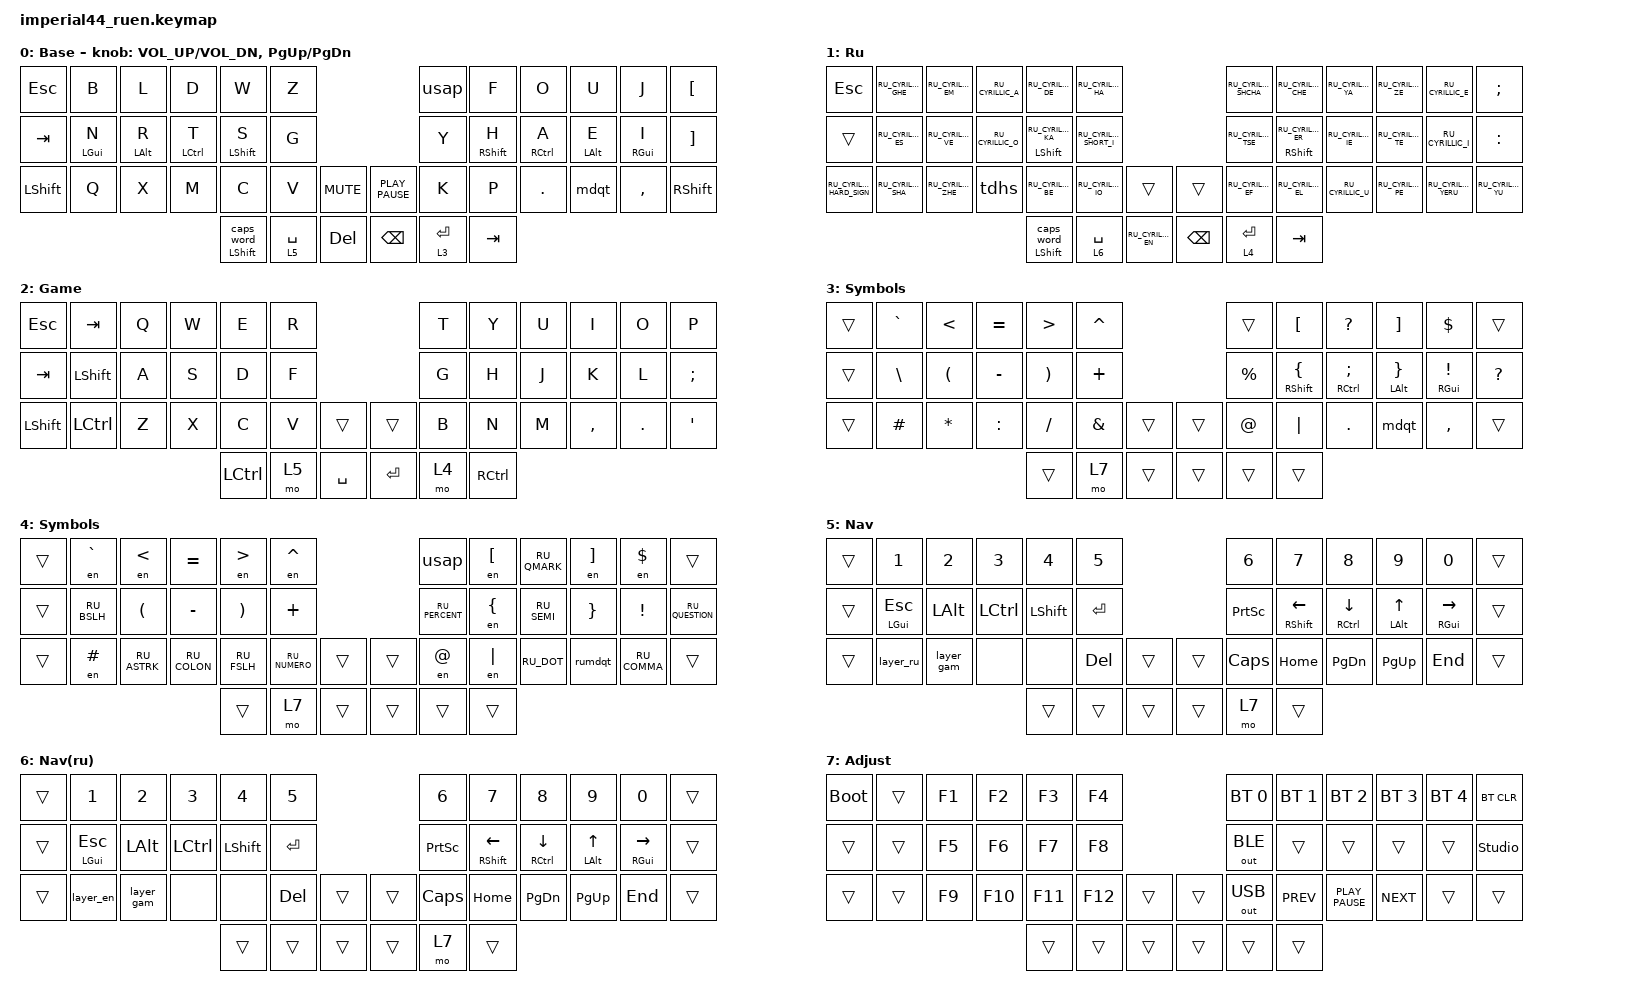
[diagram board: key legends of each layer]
#include "keys_ru.h"
#include <behaviors.dtsi>
#include <dt-bindings/zmk/bt.h>
#include <dt-bindings/zmk/keys.h>
#include <dt-bindings/zmk/outputs.h>

&mt {
    quick-tap-ms = <135>;
    flavor = "tap-preferred";
    tapping-term-ms = <175>;
    require-prior-idle-ms = <30>;
};

/ {
    behaviors {
        hml: home_row_mod_left {
            compatible = "zmk,behavior-hold-tap";
            #binding-cells = <2>;
            flavor = "balanced";
            require-prior-idle-ms = <100>;
            tapping-term-ms = <175>;
            quick-tap-ms = <135>;
            bindings = <&kp>, <&kp>;

            hold-trigger-key-positions = <6 7 8 9 10 11 18 19 20 21 22 23 31 32 33 34 35 36 37 41 42 43>;
            hold-trigger-on-release;
        };

        hmr: home_row_mod_right {
            compatible = "zmk,behavior-hold-tap";
            #binding-cells = <2>;
            flavor = "balanced";
            require-prior-idle-ms = <100>;
            tapping-term-ms = <175>;
            quick-tap-ms = <135>;
            bindings = <&kp>, <&kp>;

            hold-trigger-key-positions = <0 1 2 3 4 5 12 13 14 15 16 17 24 25 26 27 28 29 30 38 39 40>;
            hold-trigger-on-release;
        };

        usap: undrscore_apos {
            compatible = "zmk,behavior-mod-morph";
            #binding-cells = <0>;
            bindings = <&kp APOS>, <&kp UNDERSCORE>;
            mods = <(MOD_LSFT|MOD_RSFT)>;
        };

        mdqt: minus_dqout {
            compatible = "zmk,behavior-mod-morph";
            #binding-cells = <0>;
            bindings = <&kp MINUS>, <&kp DQT>;
            mods = <(MOD_LSFT|MOD_RSFT)>;
        };

        rumdqt: minus_ru_dqout {
            compatible = "zmk,behavior-mod-morph";
            #binding-cells = <0>;
            bindings = <&kp MINUS>, <&kp RU_DQT>;
            mods = <(MOD_LSFT|MOD_RSFT)>;
        };

        tdhs: tap_dance_hard_sign {
            compatible = "zmk,behavior-tap-dance";
            #binding-cells = <0>;
            tapping-term-ms = <150>;
            bindings = <&kp RU_CYRILLIC_SOFT_SIGN>, <&kp RU_CYRILLIC_HARD_SIGN>;
        };

        tdyo: tap_dance_yo {
            compatible = "zmk,behavior-tap-dance";
            #binding-cells = <0>;
            tapping-term-ms = <150>;
            bindings = <&kp RU_CYRILLIC_E>, <&kp RU_CYRILLIC_IO>;
        };

        scw: shift_caps_word {
            compatible = "zmk,behavior-hold-tap";
            #binding-cells = <2>;
            flavor = "hold-preferred";
            tapping-term-ms = <150>;
            bindings = <&kp>, <&caps_word>;
            display-name = "Shift-Caps";
        };
    };

    macros {
        to_ru: to_ru {
            compatible = "zmk,behavior-macro";
            #binding-cells = <0>;
            bindings = <&kp LS(LC(N2))>;
            label = "TO_RU";
            wait-ms = <0>;
        };

        to_en: to_en {
            compatible = "zmk,behavior-macro";
            #binding-cells = <0>;
            bindings = <&kp LS(LC(N1))>;
            label = "TO_EN";
            wait-ms = <0>;
        };

        to_gam: to_gam {
            compatible = "zmk,behavior-macro";
            #binding-cells = <0>;
            bindings = <&kp LS(LC(N3))>;
            label = "TO_GAM";
            wait-ms = <0>;
        };

        layer_en: layer_en {
            compatible = "zmk,behavior-macro";
            #binding-cells = <0>;
            bindings = <&tog 1 &to_en>;
            label = "LAYER_EN";
            wait-ms = <0>;
            tap-ms = <30>;
        };

        layer_ru: layer_ru {
            compatible = "zmk,behavior-macro";
            #binding-cells = <0>;
            bindings = <&tog 1 &to_ru>;
            label = "LAYER_RU";
            tap-ms = <30>;
            wait-ms = <0>;
        };

        layer_gam: layer_gam {
            compatible = "zmk,behavior-macro";
            #binding-cells = <0>;
            bindings = <&tog 2 &to_gam>;
            label = "LAYER_GAM";
            tap-ms = <30>;
            wait-ms = <0>;
        };

        en: en {
            compatible = "zmk,behavior-macro-one-param";
            #binding-cells = <1>;
            bindings =
                <&to_en>,
                <&macro_press>,
                <&macro_param_1to1 &kp MACRO_PLACEHOLDER>,
                <&macro_pause_for_release>,
                <&macro_release>,
                <&macro_param_1to1 &kp MACRO_PLACEHOLDER>,
                <&macro_tap>,
                <&to_ru>;
            label = "EN";
            wait-ms = <0>;
            tap-ms = <30>;
        };
    };

    keymap {
        compatible = "zmk,keymap";

        en {
            bindings = <
&kp ESC    &kp B        &kp L        &kp D         &kp W         &kp Z                                        &usap        &kp F         &kp O         &kp U        &kp J       &kp LBKT
&kp TAB    &hml LGUI N  &hml LALT R  &hml LCTRL T  &hml LSHFT S  &kp G                                        &kp Y        &hmr RSHFT H  &hmr RCTRL A  &hmr LALT E  &hmr RGUI I &kp RBKT
&kp LSHFT  &kp Q        &kp X        &kp M         &kp C         &kp V       &kp K_MUTE   &kp K_PLAY_PAUSE    &kp K        &kp P         &kp DOT       &mdqt        &kp COMMA   &kp RSHFT
                                                   &scw LSHIFT 0 &lt 5 SPACE &kp DELETE   &kp BACKSPACE  &lt 3 ENTER  &kp TAB
            >;

            display-name = "Base";
            sensor-bindings =
                <&inc_dec_kp C_VOL_UP C_VOL_DN>,
                <&inc_dec_kp PG_UP PG_DN>;
        };

        ru {
            display-name = "Ru";
            bindings = <
&kp ESC                    &kp RU_CYRILLIC_GHE   &kp RU_CYRILLIC_EM  &kp RU_CYRILLIC_A   &kp RU_CYRILLIC_DE        &kp RU_CYRILLIC_HA                       &kp RU_CYRILLIC_SHCHA &kp RU_CYRILLIC_CHE       &kp RU_CYRILLIC_YA &kp RU_CYRILLIC_ZE  &kp RU_CYRILLIC_E    &kp SEMI
&trans                     &kp RU_CYRILLIC_ES    &kp RU_CYRILLIC_VE  &kp RU_CYRILLIC_O   &hml LSHFT RU_CYRILLIC_KA &kp RU_CYRILLIC_SHORT_I                  &kp RU_CYRILLIC_TSE   &hmr RSHFT RU_CYRILLIC_ER &kp RU_CYRILLIC_IE &kp RU_CYRILLIC_TE  &kp RU_CYRILLIC_I    &kp COLON
&kp RU_CYRILLIC_HARD_SIGN  &kp RU_CYRILLIC_SHA   &kp RU_CYRILLIC_ZHE &tdhs               &kp RU_CYRILLIC_BE        &kp RU_CYRILLIC_IO      &trans &trans    &kp RU_CYRILLIC_EF    &kp RU_CYRILLIC_EL        &kp RU_CYRILLIC_U  &kp RU_CYRILLIC_PE  &kp RU_CYRILLIC_YERU &kp RU_CYRILLIC_YU
                                                                                                   &scw LSHIFT 0  &lt 6 SPACE  &kp RU_CYRILLIC_EN  &kp BACKSPACE  &lt 4 ENTER         &kp TAB
            >;
        };

        gam {
            bindings = <
&kp ESC    &kp TAB    &kp Q  &kp W  &kp E  &kp R                        &kp T  &kp Y  &kp U  &kp I      &kp O    &kp P
&kp TAB    &kp LSHFT  &kp A  &kp S  &kp D  &kp F                        &kp G  &kp H  &kp J  &kp K      &kp L    &kp SEMI
&kp LSHFT  &kp LCTRL  &kp Z  &kp X  &kp C  &kp V  &trans     &trans     &kp B  &kp N  &kp M  &kp COMMA  &kp DOT  &kp SQT
                                &kp LCTRL  &mo 5  &kp SPACE  &kp ENTER  &mo 4  &kp RCTRL
            >;

            display-name = "Game";
        };

        sym_en {
            bindings = <
&trans  &kp GRAVE &kp LT    &kp EQUAL  &kp GT    &kp CARET                    &trans     &kp LBKT  &kp QMARK  &kp RBKT  &kp DLLR   &trans
&trans  &kp BSLH  &kp LPAR  &kp MINUS  &kp RPAR  &kp PLUS                     &kp PRCNT  &hmr RSHFT LBRC  &hmr RCTRL SEMI   &hmr LALT RBRC  &hmr RGUI EXCL   &kp QUESTION
&trans  &kp HASH  &kp STAR  &kp COLON  &kp FSLH  &kp AMPS   &trans    &trans  &kp AT     &kp PIPE  &kp DOT    &mdqt     &kp COMMA  &trans
                                       &trans    &mo 7      &trans    &trans  &trans     &trans
            >;

            display-name = "Symbols";
        };

        sym_ru {
            display-name = "Symbols";
            bindings = <
&trans  &en GRAVE    &en LT        &kp EQUAL     &en GT       &en CARET                        &usap           &en LBKT  &kp RU_QMARK  &en RBKT  &en DLLR  &trans
&trans  &kp RU_BSLH  &kp LPAR      &kp MINUS     &kp RPAR     &kp PLUS                         &kp RU_PERCENT  &en LBRC  &kp RU_SEMI   &kp RBRC  &kp EXCL  &kp RU_QUESTION
&trans  &en HASH     &kp RU_ASTRK  &kp RU_COLON  &kp RU_FSLH  &kp RU_NUMERO  &trans    &trans  &en AT          &en PIPE  &kp RU_DOT    &rumdqt   &kp RU_COMMA  &trans
                                                 &trans       &mo 7          &trans    &trans  &trans          &trans
            >;
        };

        nav {
            bindings = <
  &trans &kp N1         &kp N2      &kp N3     &kp N4     &kp N5                        &kp N6           &kp N7           &kp N8           &kp N9        &kp N0           &trans
  &trans &hml LGUI ESC  &kp LALT    &kp LCTRL  &kp LSHFT  &kp ENTER                     &kp PRINTSCREEN  &hmr RSHFT LEFT  &hmr RCTRL DOWN  &hmr LALT UP  &hmr RGUI RIGHT  &trans
  &trans &layer_ru      &layer_gam  &none      &none      &kp DELETE   &trans &trans    &kp CAPS         &kp HOME         &kp PG_DN        &kp PG_UP     &kp END          &trans
                                          &trans         &trans   &trans    &trans    &mo 7            &trans
            >;

            display-name = "Nav";
        };

        nav-ru {
            bindings = <
  &trans &kp N1         &kp N2      &kp N3     &kp N4     &kp N5                        &kp N6           &kp N7           &kp N8           &kp N9        &kp N0           &trans
  &trans &hml LGUI ESC  &kp LALT    &kp LCTRL  &kp LSHFT  &kp ENTER                     &kp PRINTSCREEN  &hmr RSHFT LEFT  &hmr RCTRL DOWN  &hmr LALT UP  &hmr RGUI RIGHT  &trans
  &trans &layer_en      &layer_gam  &none      &none      &kp DELETE   &trans &trans    &kp CAPS         &kp HOME         &kp PG_DN        &kp PG_UP     &kp END          &trans
                                          &trans         &trans   &trans    &trans    &mo 7            &trans
            >;

            display-name = "Nav(ru)";
        };


        adj {
            bindings = <
&bootloader  &trans  &kp F1  &kp F2   &kp F3   &kp F4                     &bt BT_SEL 0  &bt BT_SEL 1  &bt BT_SEL 2      &bt BT_SEL 3  &bt BT_SEL 4  &bt BT_CLR
&trans       &trans  &kp F5  &kp F6   &kp F7   &kp F8                     &out OUT_BLE  &trans        &trans            &trans  &trans        &studio_unlock
&trans       &trans  &kp F9  &kp F10  &kp F11  &kp F12  &trans    &trans  &out OUT_USB  &kp K_PREV    &kp K_PLAY_PAUSE  &kp K_NEXT    &trans        &trans
                                      &trans   &trans   &trans    &trans  &trans        &trans
            >;

            display-name = "Adjust";
        };
    };
};
